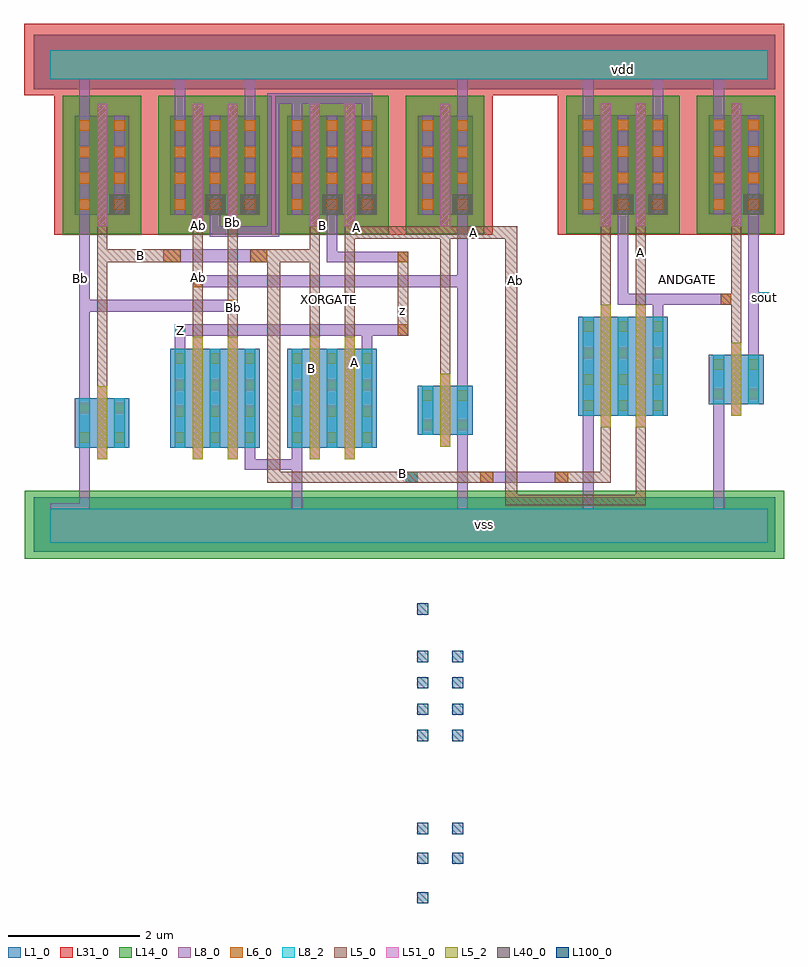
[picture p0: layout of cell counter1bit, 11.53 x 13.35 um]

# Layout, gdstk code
from math import pi, radians
import gdstk
lib = gdstk.Library(unit=1e-6, precision=5e-09)
def R(c, l, rs):  # rectangles x0, y0, x1, y1
    for r in rs: c.add(gdstk.rectangle(r[:2], r[2:], *l))
def A(c, l, x, y, w, h, nx, ny, dx, dy):  # array of equal rectangles
    R(c, l, [(x+i*dx, y+j*dy, x+i*dx+w, y+j*dy+h) for i in range(nx) for j in range(ny)])
def P(c, l, *ps):  # polygons
    for p in ps: c.add(gdstk.Polygon(p, *l))
L1_0 = (1, 0)
L5_0 = (5, 0)
L5_2 = (5, 2)
L6_0 = (6, 0)
L8_0 = (8, 0)
L8_2 = (8, 2)
L14_0 = (14, 0)
L31_0 = (31, 0)
L40_0 = (40, 0)
L51_0 = (51, 0)
L100_0 = (100, 0)

nmos_1 = lib.new_cell('nmos$1')
R(nmos_1, L1_0, [(0,0,0.3,0.3), (0,0,0.83,0.75), (0.53,0,0.83,0.3)])
R(nmos_1, L5_0, [(0.34,-0.18,0.49,0.93)])
R(nmos_1, L5_2, [(0.34,-0.18,0.49,0.93)])
R(nmos_1, L6_0, [(0.07,0.07,0.23,0.23), (0.6,0.07,0.76,0.23), (0.07,0.52,0.23,0.68), (0.6,0.52,0.76,0.68)])
R(nmos_1, L8_0, [(0.07,0,0.23,0.75), (0.6,0,0.76,0.75)])
R(nmos_1, L8_2, [(0.07,0,0.23,0.75), (0.6,0,0.76,0.75)])
R(nmos_1, L51_0, [(0.34,-0.18,0.49,0.93)])
nmos_1.add(gdstk.Label('nmos', (0.415,0.375), layer=63, texttype=0))
nmos_1.add(gdstk.Label('nmos', (0.415,0.375), layer=51, texttype=0))

pmos_1 = lib.new_cell('pmos$1')
R(pmos_1, L1_0, [(0,0,0.3,0.3), (0,0,0.83,1.5), (0.53,0,0.83,0.3)])
R(pmos_1, L5_0, [(0.34,-0.18,0.49,1.68), (0.34,-0.18,0.49,1.68)])
A(pmos_1, L6_0, 0.07, 0.07, 0.16, 0.16, 1, 4, 0, 0.4)
A(pmos_1, L6_0, 0.6, 0.07, 0.16, 0.16, 1, 4, 0, 0.4)
R(pmos_1, L8_0, [(0.07,0,0.23,1.5), (0.07,0,0.23,1.5), (0.6,0,0.76,1.5), (0.6,0,0.76,1.5)])
R(pmos_1, L14_0, [(-0.18,-0.3,1.01,1.8)])
R(pmos_1, L31_0, [(-0.31,-0.31,1.14,1.81)])
R(pmos_1, L40_0, [(0.53,0,0.83,0.3)])
R(pmos_1, L51_0, [(0.34,-0.18,0.49,1.68)])
pmos_1.add(gdstk.Label('pmos', (0.415,0.75), layer=63, texttype=0))
pmos_1.add(gdstk.Label('pmos', (0.415,0.75), layer=51, texttype=0))

nmos = lib.new_cell('nmos')
R(nmos, L1_0, [(0,0,0.3,0.3), (0,0,0.83,1.5), (0.53,0,0.83,0.3)])
R(nmos, L5_0, [(0.34,-0.18,0.49,1.68)])
R(nmos, L5_2, [(0.34,-0.18,0.49,1.68)])
A(nmos, L6_0, 0.07, 0.07, 0.16, 0.16, 1, 4, 0, 0.4)
A(nmos, L6_0, 0.6, 0.07, 0.16, 0.16, 1, 4, 0, 0.4)
R(nmos, L8_0, [(0.07,0,0.23,1.5), (0.6,0,0.76,1.5)])
R(nmos, L8_2, [(0.07,0,0.23,1.5), (0.6,0,0.76,1.5)])
R(nmos, L51_0, [(0.34,-0.18,0.49,1.68)])
nmos.add(gdstk.Label('nmos', (0.415,0.75), layer=63, texttype=0))
nmos.add(gdstk.Label('nmos', (0.415,0.75), layer=51, texttype=0))

pmos_1_1 = lib.new_cell('pmos$1$1')
R(pmos_1_1, L1_0, [(0,0,0.3,0.3), (0,0,0.83,1.5), (0.53,0,0.83,0.3)])
R(pmos_1_1, L5_0, [(0.34,-0.18,0.49,1.68), (0.34,-0.18,0.49,1.68)])
A(pmos_1_1, L6_0, 0.07, 0.07, 0.16, 0.16, 1, 4, 0, 0.4)
A(pmos_1_1, L6_0, 0.6, 0.07, 0.16, 0.16, 1, 4, 0, 0.4)
R(pmos_1_1, L8_0, [(0.07,0,0.23,1.5), (0.07,0,0.23,1.5), (0.6,0,0.76,1.5), (0.6,0,0.76,1.5)])
R(pmos_1_1, L14_0, [(-0.18,-0.3,1.01,1.8)])
R(pmos_1_1, L31_0, [(-0.31,-0.31,1.14,1.81)])
R(pmos_1_1, L40_0, [(0.53,0,0.83,0.3)])
R(pmos_1_1, L51_0, [(0.34,-0.18,0.49,1.68)])
pmos_1_1.add(gdstk.Label('pmos', (0.415,0.75), layer=63, texttype=0))
pmos_1_1.add(gdstk.Label('pmos', (0.415,0.75), layer=51, texttype=0))

nmos_2 = lib.new_cell('nmos$2')
R(nmos_2, L1_0, [(0,0,0.3,0.3), (0,0,0.83,0.75), (0.53,0,0.83,0.3)])
R(nmos_2, L5_0, [(0.34,-0.18,0.49,0.93)])
R(nmos_2, L5_2, [(0.34,-0.18,0.49,0.93)])
R(nmos_2, L6_0, [(0.07,0.07,0.23,0.23), (0.6,0.07,0.76,0.23), (0.07,0.52,0.23,0.68), (0.6,0.52,0.76,0.68)])
R(nmos_2, L8_0, [(0.07,0,0.23,0.75), (0.6,0,0.76,0.75)])
R(nmos_2, L8_2, [(0.07,0,0.23,0.75), (0.6,0,0.76,0.75)])
R(nmos_2, L51_0, [(0.34,-0.18,0.49,0.93)])
nmos_2.add(gdstk.Label('nmos', (0.415,0.375), layer=63, texttype=0))
nmos_2.add(gdstk.Label('nmos', (0.415,0.375), layer=51, texttype=0))

nmos_1_1 = lib.new_cell('nmos$1$1')
R(nmos_1_1, L1_0, [(0,0,0.3,0.3), (0,0,0.83,1.5), (0.53,0,0.83,0.3)])
R(nmos_1_1, L5_0, [(0.34,-0.18,0.49,1.68)])
R(nmos_1_1, L5_2, [(0.34,-0.18,0.49,1.68)])
A(nmos_1_1, L6_0, 0.07, 0.07, 0.16, 0.16, 1, 4, 0, 0.4)
A(nmos_1_1, L6_0, 0.6, 0.07, 0.16, 0.16, 1, 4, 0, 0.4)
R(nmos_1_1, L8_0, [(0.07,0,0.23,1.5), (0.6,0,0.76,1.5)])
R(nmos_1_1, L8_2, [(0.07,0,0.23,1.5), (0.6,0,0.76,1.5)])
R(nmos_1_1, L51_0, [(0.34,-0.18,0.49,1.68)])
nmos_1_1.add(gdstk.Label('nmos', (0.415,0.75), layer=63, texttype=0))
nmos_1_1.add(gdstk.Label('nmos', (0.415,0.75), layer=51, texttype=0))

pmos = lib.new_cell('pmos')
R(pmos, L1_0, [(0,0,0.3,0.3), (0,0,0.83,1.5), (0.53,0,0.83,0.3)])
R(pmos, L5_0, [(0.34,-0.18,0.49,1.68), (0.34,-0.18,0.49,1.68)])
A(pmos, L6_0, 0.07, 0.07, 0.16, 0.16, 1, 4, 0, 0.4)
A(pmos, L6_0, 0.6, 0.07, 0.16, 0.16, 1, 4, 0, 0.4)
R(pmos, L8_0, [(0.07,0,0.23,1.5), (0.07,0,0.23,1.5), (0.6,0,0.76,1.5), (0.6,0,0.76,1.5)])
R(pmos, L14_0, [(-0.18,-0.3,1.01,1.8)])
R(pmos, L31_0, [(-0.31,-0.31,1.14,1.81)])
R(pmos, L40_0, [(0.53,0,0.83,0.3)])
R(pmos, L51_0, [(0.34,-0.18,0.49,1.68)])
pmos.add(gdstk.Label('pmos', (0.415,0.75), layer=63, texttype=0))
pmos.add(gdstk.Label('pmos', (0.415,0.75), layer=51, texttype=0))

counter1bit = lib.new_cell('counter1bit')
R(counter1bit, L1_0, [(-6.2,3.795,1.55,4.62), (1.55,3.795,5.055,4.62), (-6.2,10.81,1.885,11.635), (1.885,10.81,5.055,11.635)])
R(counter1bit, L5_0, [(-3.255,7.05,-3.105,8.73), (-3.785,7.055,-3.635,8.73), (-0.675,7.07,-0.515,8.345)])
P(counter1bit, L5_0, [(4.385,6.965),(4.385,7.54),(4.225,7.54),(4.225,7.705),(4.385,7.705),(4.385,8.755),(4.535,8.755),(4.535,6.965)],
  [(2.935,7.54),(2.935,8.735),(3.085,8.735),(3.085,8.14),(3.085,7.865),(3.085,7.54)],
  [(2.405,7.535),(2.405,7.71),(2.405,7.91),(2.405,8.735),(2.555,8.735),(2.555,7.535)],
  [(1.705,4.84),(1.705,5.01),(2.405,5.01),(2.405,5.68),(2.555,5.68),(2.555,4.84)],
  [(-2.655,4.84),(-2.655,8.185),(-2.91,8.185),(-2.91,8.385),(-2.01,8.385),(-2.01,8.73),(-1.86,8.73),(-1.86,7.055),(-2.01,7.055),(-2.01,8.185),(-2.46,8.185),(-2.46,5.01),(0.775,5.01),(0.775,4.84)],
  [(-5.235,6.305),(-5.235,8.73),(-5.085,8.73),(-5.085,8.385),(-3.97,8.385),(-3.97,8.185),(-4.8,8.185),(-5.045,8.185),(-5.085,8.185),(-5.085,6.305)],
  [(0.955,4.5),(0.955,8.54),(0.12,8.54),(0.12,6.495),(-0.03,6.495),(-0.03,8.54),(-1.33,8.54),(-1.33,7.055),(-1.48,7.055),(-1.48,8.73),(-0.34,8.73),(-0.09,8.73),(1.025,8.73),(1.135,8.73),(1.135,4.66),(2.935,4.66),(2.935,5.68),(3.085,5.68),(3.085,4.5)])
R(counter1bit, L6_0, [(-5.95,3.93,1.3,4.445), (1.3,3.93,4.935,4.445), (-0.55,4.84,-0.37,5.01), (0.58,4.84,0.775,5.01), (1.705,4.84,1.915,5.01), (-4.055,7.07,-3.895,7.245), (-0.675,7.07,-0.515,7.245), (-3.255,7.435,-3.105,7.615), (4.225,7.54,4.385,7.705), (4.805,7.57,4.965,7.73), (-3.785,7.805,-3.635,7.99), (-4.235,8.185,-3.97,8.385), (-2.91,8.185,-2.655,8.385), (-0.675,8.185,-0.515,8.345), (-5.95,10.965,1.3,11.405), (1.3,10.965,4.935,11.405)])
R(counter1bit, L8_0, [(-0.55,4.84,-0.37,5.01), (0.58,4.84,1.915,5.01), (-4.235,8.185,-2.655,8.385)])
P(counter1bit, L8_0, [(2.135,10.415),(2.135,10.965),(1.3,10.965),(1.3,11.405),(4.935,11.405),(4.935,10.965),(4.275,10.965),(4.275,10.415),(4.115,10.415),(4.115,10.965),(3.355,10.965),(3.355,10.415),(3.195,10.415),(3.195,10.965),(2.295,10.965),(2.295,10.415)],
  [(1.3,3.93),(1.3,4.445),(2.135,4.445),(2.135,5.89),(2.295,5.89),(2.295,4.445),(4.115,4.445),(4.115,6.065),(4.275,6.065),(4.275,4.445),(4.935,4.445),(4.935,3.93)],
  [(4.645,6.785),(4.645,8.935),(4.805,8.935),(4.805,7.73),(4.965,7.73),(4.965,7.57),(4.805,7.57),(4.805,6.785)],
  [(3.195,7.36),(3.195,7.54),(2.665,7.54),(2.665,8.915),(2.825,8.915),(2.825,7.705),(4.385,7.705),(4.385,7.54),(3.355,7.54),(3.355,7.36)],
  [(0.23,6.315),(0.23,7.805),(-3.785,7.805),(-3.785,7.99),(0.23,7.99),(0.23,8.91),(0.39,8.91),(0.39,6.315)],
  [(-5.95,3.93),(-5.95,4.53),(-5.505,4.53),(-5.505,5.375),(-5.345,5.375),(-5.345,4.445),(-2.28,4.445),(-2.28,5.035),(-2.995,5.035),(-2.995,5.435),(-2.835,5.435),(-2.835,5.195),(-2.28,5.195),(-2.28,5.375),(-2.12,5.375),(-2.12,4.445),(0.23,4.445),(0.23,5.565),(0.39,5.565),(0.39,4.445),(1.3,4.445),(1.3,3.93)],
  [(-5.505,10.405),(-5.505,10.965),(-5.95,10.965),(-5.95,11.405),(1.3,11.405),(1.3,10.965),(0.39,10.965),(0.39,10.41),(0.23,10.41),(0.23,10.965),(-2.835,10.965),(-2.835,10.41),(-2.995,10.41),(-2.995,10.965),(-3.895,10.965),(-3.895,10.41),(-4.055,10.41),(-4.055,10.965),(-5.345,10.965),(-5.345,10.405)],
  [(-5.505,6.125),(-5.505,8.91),(-5.345,8.91),(-5.345,7.615),(-3.105,7.615),(-3.105,7.435),(-5.345,7.435),(-5.345,6.125)],
  [(-4.055,6.875),(-4.055,7.245),(-0.515,7.245),(-0.515,7.07),(-1.06,7.07),(-1.06,6.875),(-1.22,6.875),(-1.22,7.07),(-3.895,7.07),(-3.895,6.875)],
  [(-1.75,8.185),(-1.75,8.91),(-1.59,8.91),(-1.59,8.345),(-0.515,8.345),(-0.515,8.185)],
  [(-3.525,8.57),(-3.525,8.91),(-3.365,8.91),(-3.365,8.73),(-2.655,8.73),(-2.655,10.75),(-1.06,10.75),(-1.06,10.41),(-1.22,10.41),(-1.22,10.59),(-2.12,10.59),(-2.12,10.41),(-2.28,10.41),(-2.28,10.59),(-2.47,10.59),(-2.47,8.57)])
R(counter1bit, L8_2, [(-5.95,3.93,1.33,4.445), (1.3,3.93,4.935,4.445), (-0.55,4.84,-0.37,5.01), (-4.055,7.07,-3.895,7.245), (4.805,7.57,4.965,7.73), (-5.95,10.965,1.3,11.405), (1.3,10.965,4.935,11.405)])
R(counter1bit, L14_0, [(-6.33,3.685,1.675,4.72), (1.675,3.685,5.185,4.72)])
P(counter1bit, L31_0, [(-6.345,10.72),(-6.345,11.805),(5.185,11.805),(5.185,10.72),(1.755,10.72),(1.675,10.72)])
R(counter1bit, L100_0, [(-0.38,-1.54,-0.21,-1.37), (-0.38,-1.54,-0.21,-1.37), (-0.38,-0.94,-0.21,-0.77), (-0.38,-0.94,-0.21,-0.77), (0.15,-0.94,0.32,-0.77), (0.15,-0.94,0.32,-0.77), (-0.38,-0.49,-0.21,-0.32), (-0.38,-0.49,-0.21,-0.32), (0.15,-0.49,0.32,-0.32), (0.15,-0.49,0.32,-0.32), (-0.38,0.92,-0.21,1.09), (-0.38,0.92,-0.21,1.09), (0.15,0.92,0.32,1.09), (0.15,0.92,0.32,1.09), (-0.38,1.32,-0.21,1.49), (-0.38,1.32,-0.21,1.49), (0.15,1.32,0.32,1.49), (0.15,1.32,0.32,1.49), (-0.38,1.72,-0.21,1.89), (-0.38,1.72,-0.21,1.89), (0.15,1.72,0.32,1.89), (0.15,1.72,0.32,1.89), (-0.38,2.12,-0.21,2.29), (-0.38,2.12,-0.21,2.29), (0.15,2.12,0.32,2.29), (0.15,2.12,0.32,2.29), (-0.38,2.84,-0.21,3.01), (-0.38,2.84,-0.21,3.01)])
counter1bit.add(gdstk.Reference(nmos_1, (4.045,6.035)))
counter1bit.add(gdstk.Reference(pmos_1, (4.045,8.915)))
counter1bit.add(gdstk.Reference(nmos, (2.065,5.86)))
counter1bit.add(gdstk.Reference(nmos, (2.595,5.86)))
counter1bit.add(gdstk.Reference(pmos_1_1, (-5.575,8.91)))
counter1bit.add(gdstk.Reference(pmos_1_1, (-4.125,8.91)))
counter1bit.add(gdstk.Reference(pmos_1_1, (-3.595,8.91)))
counter1bit.add(gdstk.Reference(pmos_1_1, (-1.82,8.91)))
counter1bit.add(gdstk.Reference(pmos_1_1, (-2.35,8.91)))
counter1bit.add(gdstk.Reference(nmos_2, (0.46,6.315), rotation=pi))
counter1bit.add(gdstk.Reference(nmos_1_1, (-3.595,5.375)))
counter1bit.add(gdstk.Reference(nmos_1_1, (-4.125,5.375)))
counter1bit.add(gdstk.Reference(nmos_1_1, (-1.82,5.375)))
counter1bit.add(gdstk.Reference(nmos_1_1, (-2.35,5.375)))
counter1bit.add(gdstk.Reference(pmos_1_1, (-0.37,8.91)))
counter1bit.add(gdstk.Reference(nmos_2, (-4.745,6.125), rotation=pi))
counter1bit.add(gdstk.Reference(pmos, (2.065,8.915)))
counter1bit.add(gdstk.Reference(pmos, (2.595,8.915)))
counter1bit.add(gdstk.Label('Ab', (-3.705,7.96), layer=63, texttype=0))
counter1bit.add(gdstk.Label('Bb', (-3.17,7.505), layer=63, texttype=0))
counter1bit.add(gdstk.Label('A', (-1.335,6.665), layer=63, texttype=0))
counter1bit.add(gdstk.Label('B', (-1.98,6.57), layer=63, texttype=0))
counter1bit.add(gdstk.Label('z', (-0.605,7.45), layer=63, texttype=0))
counter1bit.add(gdstk.Label('A', (0.475,8.635), layer=63, texttype=0))
counter1bit.add(gdstk.Label('Bb', (-5.49,7.945), layer=63, texttype=0))
counter1bit.add(gdstk.Label('B', (-4.585,8.295), layer=63, texttype=0))
counter1bit.add(gdstk.Label('B', (-1.815,8.745), layer=63, texttype=0))
counter1bit.add(gdstk.Label('A', (-1.305,8.71), layer=63, texttype=0))
counter1bit.add(gdstk.Label('Ab', (1.115,7.915), layer=63, texttype=0))
counter1bit.add(gdstk.Label('Bb', (-3.18,8.795), layer=63, texttype=0))
counter1bit.add(gdstk.Label('Ab', (-3.7,8.75), layer=63, texttype=0))
counter1bit.add(gdstk.Label('B', (-0.6,4.975), layer=63, texttype=0))
counter1bit.add(gdstk.Label('XORGATE', (-1.705,7.625), layer=63, texttype=0))
counter1bit.add(gdstk.Label('ANDGATE', (3.725,7.92), layer=63, texttype=0))
counter1bit.add(gdstk.Label('A', (3.015,8.335), layer=63, texttype=0))
counter1bit.add(gdstk.Label('sout', (4.89,7.645), layer=8, texttype=2))
counter1bit.add(gdstk.Label('ce', (-0.46,4.93), layer=8, texttype=2))
counter1bit.add(gdstk.Label('vdd', (2.755,11.105), layer=8, texttype=2))
counter1bit.add(gdstk.Label('vss', (0.635,4.21), layer=8, texttype=2))
counter1bit.add(gdstk.Label('Z', (-3.975,7.155), layer=8, texttype=2))

lib.write_gds('counter1bit.gds')
